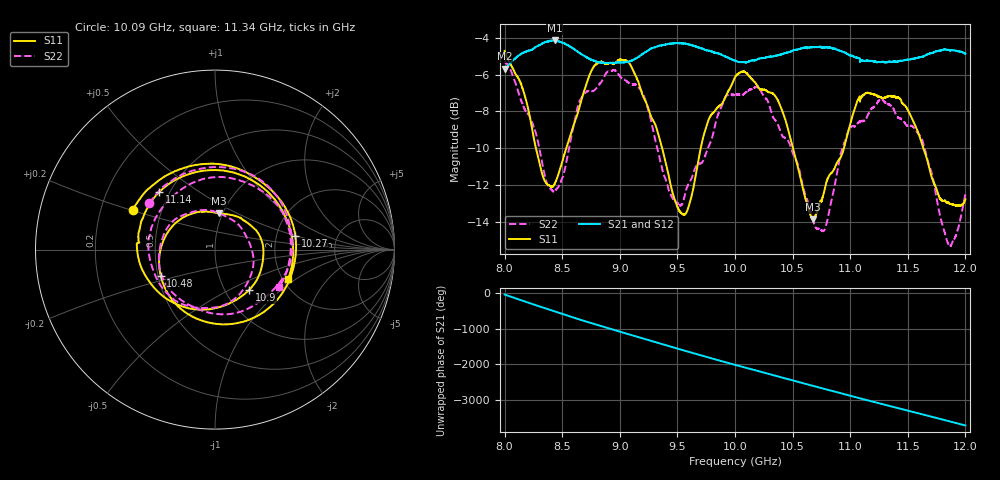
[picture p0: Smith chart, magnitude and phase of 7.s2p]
!Agilent Technologies,E8362C,MY49020356,A.09.42.23
!Agilent E8362C: A.09.42.23
!Date: Wednesday, December 03, 2025 18:11:59
!Correction: S11(Full 2 Port(1,2))
!S21(Full 2 Port(1,2))
!S12(Full 2 Port(1,2))
!S22(Full 2 Port(1,2))
!S2P File: Measurements: S11, S21, S12, S22:
# Hz S  dB  R 50
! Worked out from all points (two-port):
!   6401 points, 8 GHz to 12 GHz, reference 50 ohm
!   highest |S21| = -4.15 dB at 8.433 GHz (marker M1); lowest = -5.7 dB at 8 GHz (marker M2)
!   |S21| within 3 dB of the highest: start of sweep to end of sweep
!   lowest |S11| = -13.9 dB at 10.67 GHz (marker M3), VSWR 1.51, Z = 48.2 + j20.3 ohm
!   |S11| at or under -10 dB: 9.368 GHz to 9.702 GHz (334.3 MHz wide, 3.51 % of centre); 10.5 GHz to 10.95 GHz (442.2 MHz wide, 4.12 % of centre); 11.64 GHz to end of sweep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
!   |S22| runs from -15.3 to -5.3 dB; largest |S21 - S12| = 0.014
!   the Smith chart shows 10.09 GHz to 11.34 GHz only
!   S11 on the Smith chart (normalised r, x): 10.09 GHz: 0.34, +0.20; 10.27 GHz: 2.55, +0.50; 10.48 GHz: 0.52, -0.17; 10.9 GHz: 1.29, -0.64; 11.14 GHz: 0.44, +0.35; 11.34 GHz: 2.14, -0.86
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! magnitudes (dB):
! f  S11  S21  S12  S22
! 8 GHz  -4.7  -5.7  -5.7  -5.3
! 8.433 GHz  -11.9  -4.1  -4.2  -12.3
! 8.667 GHz  -7.4  -4.9  -4.9  -7.3
! 9.057 GHz  -5.2  -5.3  -5.3  -6.4
! 9.204 GHz  -7.2  -4.9  -4.9  -7.1
! 9.334 GHz  -9.2  -4.5  -4.5  -10.2
! 9.565 GHz  -13.6  -4.3  -4.3  -12.5
! 9.766 GHz  -8.5  -4.7  -4.8  -10.0
! 10 GHz  -6.2  -5.2  -5.3  -7.1
! 10.09 GHz  -5.9  -5.3  -5.4  -7.0
! 10.27 GHz  -6.9  -5.1  -5.2  -7.3
! 10.48 GHz  -9.5  -4.8  -4.8  -9.9
! 10.67 GHz  -13.8  -4.5  -4.6  -13.7
! 10.67 GHz  -13.9  -4.5  -4.6  -13.8
! 10.78 GHz  -12.2  -4.5  -4.6  -14.4
! 10.9 GHz  -10.6  -4.7  -4.7  -10.8
! 11.14 GHz  -7.0  -5.2  -5.3  -8.4
! 11.33 GHz  -7.2  -5.3  -5.4  -7.6
! 11.34 GHz  -7.2  -5.3  -5.4  -7.6
! 11.62 GHz  -9.7  -5.0  -5.1  -9.5
! 11.86 GHz  -13.0  -4.7  -4.7  -15.3
! 12 GHz  -12.8  -4.9  -4.9  -12.5
